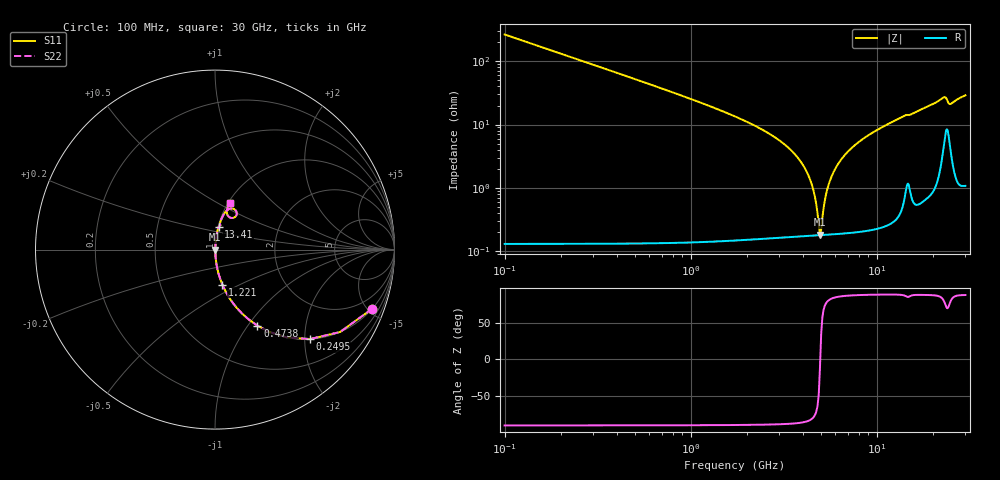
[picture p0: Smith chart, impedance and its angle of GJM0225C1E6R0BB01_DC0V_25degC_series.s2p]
!Murata Part Number: GJM0225C1E6R0BB01
!These Parameters are Measured in Series Mode Connection
!  o--ll--o
!Port1  Port2
!  o------o
!Operation Temp=25[degC], DC Bias Voltage=0[V]
!Freq. Start=100[MHz] Stop=30[GHz], 401[Steps]
!Data Generated on Feb 1, 2023
# Hz S RI R 50
!Freq.(Hz) S11(Real) S11(Imag) S21(Real) S21(Imag) S12(Real) S12(Imag) S22(Real) S22(Imag)
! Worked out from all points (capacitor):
!   401 points, 100 MHz to 30 GHz, reference 50 ohm
!   read as one part in series: C = 6 pF near 249.5 MHz
!   lowest |Z| = 182 mohm at 4.959 GHz (marker M1)
!   series resonance near 4.974 GHz, so ESL is about 170 pH
!   S11 on the Smith chart (normalised r, x): 100 MHz: 1.00, -5.30; 249.5 MHz: 1.00, -2.12; 473.8 MHz: 1.00, -1.11; 1.221 GHz: 1.00, -0.41; 13.41 GHz: 1.01, +0.26; 30 GHz: 1.02, +0.58
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1e8  0.8754 -0.3301  0.1246 0.3301  0.1246 0.3301  0.8754 -0.3301
2.495e8  0.5293 -0.4985  0.4707 0.4985  0.4707 0.4985  0.5293 -0.4985
4.7375e8  0.2359 -0.4234  0.7641 0.4234  0.7641 0.4234  0.2359 -0.4234
7.7275e8  0.1018 -0.3004  0.8982 0.3004  0.8982 0.3004  0.1018 -0.3004
1.22125e9  0.0412 -0.1953  0.9588 0.1953  0.9588 0.1953  0.0412 -0.1953
3.2395e9  0.00385 -0.0468  0.9962 0.0468  0.9962 0.0468  0.00385 -0.0468
3.987e9  0.00227 -0.0237  0.9977 0.0237  0.9977 0.0237  0.00227 -0.0237
4.51025e9  0.00186 -0.0104  0.9981 0.0104  0.9981 0.0104  0.00186 -0.0104
4.884e9  0.00178 -0.00195  0.9982 0.00195  0.9982 0.00195  0.00178 -0.00195
4.95875e9  0.00178 -0.000334  0.9982 0.000334  0.9982 0.000334  0.00178 -0.000334
5.10825e9  0.0018 0.00282  0.9982 -0.00282  0.9982 -0.00282  0.0018 0.00282
5.3325e9  0.00186 0.00739  0.9981 -0.00739  0.9981 -0.00739  0.00186 0.00739
5.55675e9  0.00196 0.0118  0.998 -0.0118  0.998 -0.0118  0.00196 0.0118
6.379e9  0.00259 0.0267  0.9974 -0.0267  0.9974 -0.0267  0.00259 0.0267
7.79925e9  0.00444 0.0494  0.9956 -0.0494  0.9956 -0.0494  0.00444 0.0494
1.01165e10  0.00904 0.082  0.991 -0.082  0.991 -0.082  0.00904 0.082
1.34055e10  0.0198 0.1247  0.9802 -0.1247  0.9802 -0.1247  0.0198 0.1247
1.505e10  0.0287 0.1366  0.9713 -0.1366  0.9713 -0.1366  0.0287 0.1366
2.005825e10  0.0499 0.1983  0.9501 -0.1983  0.9501 -0.1983  0.0499 0.1983
2.304825e10  0.1053 0.2262  0.8947 -0.2262  0.8947 -0.2262  0.1053 0.2262
2.50665e10  0.0728 0.1876  0.9272 -0.1876  0.9272 -0.1876  0.0728 0.1876
3e10  0.0856 0.2618  0.9144 -0.2618  0.9144 -0.2618  0.0856 0.2618
